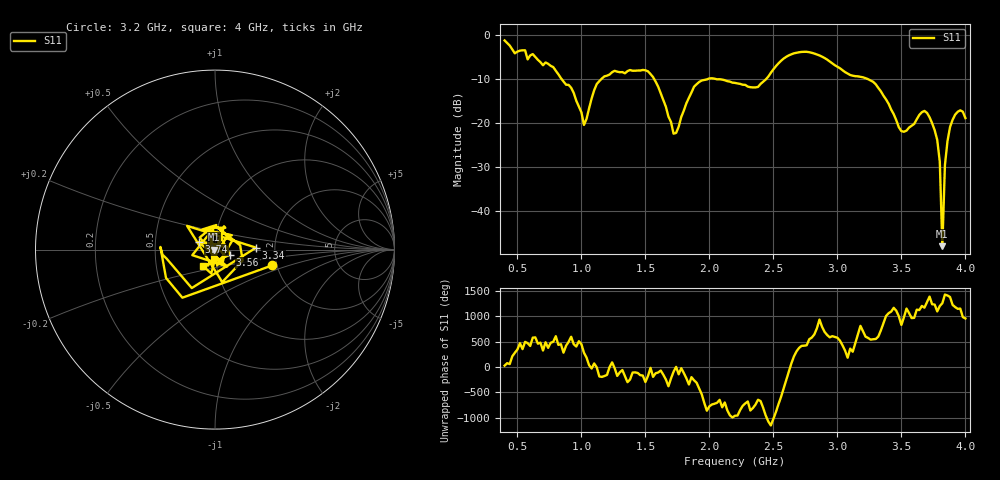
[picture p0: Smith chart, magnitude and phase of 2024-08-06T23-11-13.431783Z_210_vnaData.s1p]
!Created with skrf (http://scikit-rf.org).
# Hz S RI R 50.0
!freq ReS11 ImS11
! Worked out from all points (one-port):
!   181 points, 400 MHz to 4 GHz, reference 50 ohm
!   lowest |S11| = -48.1 dB at 3.82 GHz (marker M1), VSWR 1.01, Z = 49.6 + j0.0331 ohm
!   |S11| at or under -10 dB: 1.569 GHz to 1.987 GHz (418.4 MHz wide, 23.5 % of centre); 2.053 GHz to 2.443 GHz (390.3 MHz wide, 17.4 % of centre); 3.238 GHz to end of sweep (the widest 3 of 4)
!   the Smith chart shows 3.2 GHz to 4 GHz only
!   S11 on the Smith chart (normalised r, x): 3.2 GHz: 1.89, -0.37; 3.34 GHz: 1.59, +0.04; 3.56 GHz: 1.18, -0.07; 3.74 GHz: 0.83, +0.07; 4 GHz: 0.86, -0.16
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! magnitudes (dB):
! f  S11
! 400 MHz  -1.2
! 860 MHz  -10.6
! 940 MHz  -13.1
! 1.02 GHz  -20.5
! 1.12 GHz  -11.1
! 1.3 GHz  -8.4
! 1.52 GHz  -8.2
! 1.6 GHz  -11.8
! 1.72 GHz  -22.4
! 1.76 GHz  -20.9
! 1.92 GHz  -10.7
! 2.2 GHz  -10.9
! 2.38 GHz  -11.8
! 2.66 GHz  -4.1
! 3.1 GHz  -9.1
! 3.2 GHz  -9.6
! 3.34 GHz  -12.8
! 3.5 GHz  -21.9
! 3.56 GHz  -21.0
! 3.68 GHz  -17.3
! 3.74 GHz  -20.0
! 3.78 GHz  -23.9
! 3.8 GHz  -28.8
! 3.82 GHz  -48.1
! 3.84 GHz  -29.7
! 3.86 GHz  -24.2
! 3.92 GHz  -18.1
! 4 GHz  -18.9
